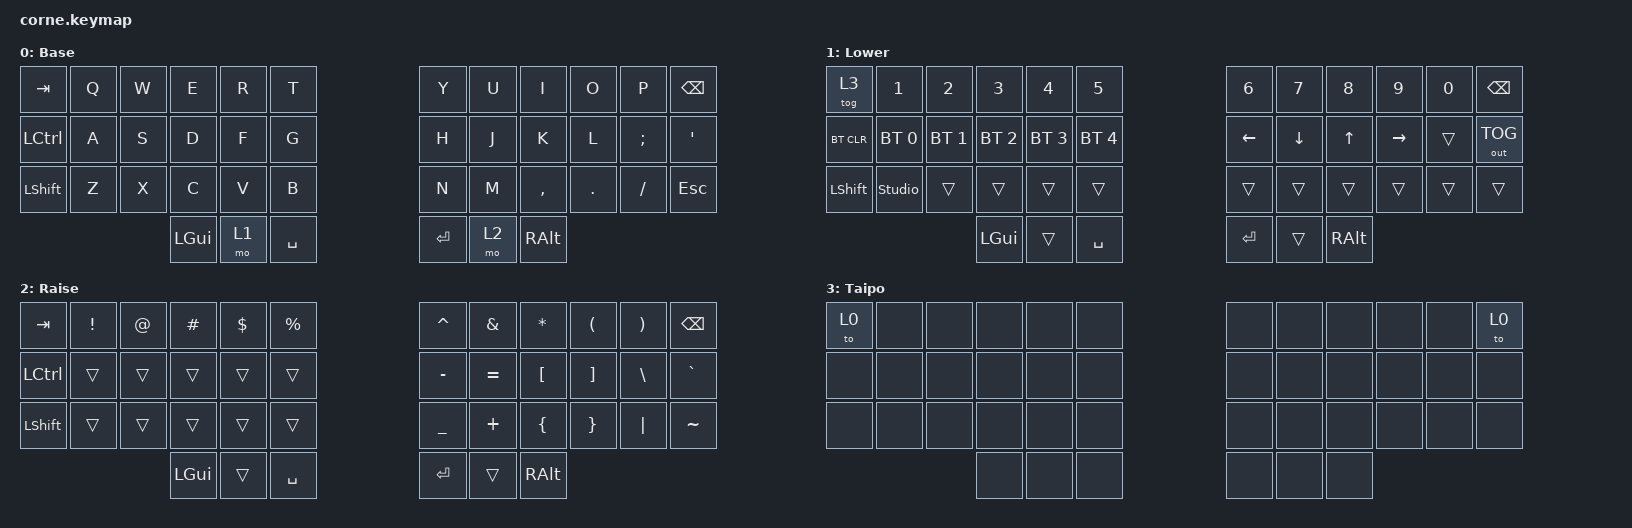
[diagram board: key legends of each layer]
/*
 * Copyright (c) 2020 The ZMK Contributors
 * SPDX-License-Identifier: MIT
 */

#include <behaviors.dtsi>
#include <dt-bindings/zmk/keys.h>
#include <dt-bindings/zmk/bt.h>
#include <dt-bindings/zmk/outputs.h>
#include <behaviors/studio_unlock.dtsi>

// ── Taipo combo configuration ─────────────────────────────────────────────
// Combos only fire on layer 3 (taipo_layer). Timeout tunable here.
#define COMBO_TIMEOUT  70
#define COMBO_LAYERS   3
#define STICKY_TIMEOUT 500

// Corne key positions (0-indexed, left→right across both halves):
//
//  Row 0 (top):   0   1   2   3   4   5  │  6   7   8   9  10  11
//  Row 1 (mid):  12  13  14  15  16  17  │ 18  19  20  21  22  23
//  Row 2 (bot):  24  25  26  27  28  29  │ 30  31  32  33  34  35
//  Thumbs:       36  37  38             │     39  40  41
//
// Default layer mapping for reference:
//  TAB  Q    W    E    R    T   │  Y    U    I    O    P    BSPC
//  CTRL A    S    D    F    G   │  H    J    K    L    ;    '
//  SHFT Z    X    C    V    B   │  N    M    ,    .    /    ESC
//            GUI  LWR  SPC      │  ENT  RSE  RALT

// ── Taipo finger→position mapping ─────────────────────────────────────────
// Uses the middle 4 keys of the middle row + middle 4 keys of the bottom row.
// (Skips the outer pinky column and the inner index-stretch column on each side.)
//
// Middle row left  (A S D F = pinky ring middle index):
#define TLP 13    // A  – left pinky,  middle row
#define TLR 14    // S  – left ring,   middle row
#define TLM 15    // D  – left middle, middle row
#define TLI 16    // F  – left index,  middle row
// Bottom row left  (Z X C V):
#define BLP 25    // Z  – left pinky,  bottom row
#define BLR 26    // X  – left ring,   bottom row
#define BLM 27    // C  – left middle, bottom row
#define BLI 28    // V  – left index,  bottom row
// Left thumbs (LWR = inner, SPC = outer — mirrors taipo cradio convention):
#define LIT 37    // LWR thumb → Backspace in Taipo
#define LOT 38    // SPC thumb → Space    in Taipo

// Middle row right  (J K L ; = index middle ring pinky):
#define TRI 19    // J  – right index,  middle row
#define TRM 20    // K  – right middle, middle row
#define TRR 21    // L  – right ring,   middle row
#define TRP 22    // ;  – right pinky,  middle row
// Bottom row right  (M , . /):
#define BRI 31    // M  – right index,  bottom row
#define BRM 32    // ,  – right middle, bottom row
#define BRR 33    // .  – right ring,   bottom row
#define BRP 34    // /  – right pinky,  bottom row
// Right thumbs:
#define RIT 39    // ENT thumb → Backspace in Taipo
#define ROT 40    // RSE thumb → Space    in Taipo

// ── Sticky key behaviour (used by Taipo shift/ctrl/alt/gui) ───────────────
&sk {
    release-after-ms = <STICKY_TIMEOUT>;
    quick-release;
};

/ {
    // ── Taipo combos (active only on layer 3) ─────────────────────────────
    combos {
        compatible = "zmk,combos";
        #include "taipo.dtsi"
    };

    keymap {
        compatible = "zmk,keymap";

        // Layer 0 – Base (unchanged)
        default_layer {
            display-name = "Base";
            bindings = <
                &kp TAB   &kp Q &kp W &kp E &kp R &kp T   &kp Y &kp U  &kp I     &kp O   &kp P    &kp BSPC
                &kp LCTRL &kp A &kp S &kp D &kp F &kp G   &kp H &kp J  &kp K     &kp L   &kp SEMI &kp SQT
                &kp LSHFT &kp Z &kp X &kp C &kp V &kp B   &kp N &kp M  &kp COMMA &kp DOT &kp FSLH &kp ESC
                                &kp LGUI &mo 1 &kp SPACE   &kp RET &mo 2 &kp RALT
            >;
        };

        // Layer 1 – Lower (numbers, BT, arrows)
        // Lower + TAB  →  toggle Taipo mode on/off
        lower_layer {
            display-name = "Lower";
            bindings = <
                &tog 3     &kp N1         &kp N2       &kp N3       &kp N4       &kp N5         &kp N6   &kp N7   &kp N8 &kp N9    &kp N0 &kp BSPC
                &bt BT_CLR &bt BT_SEL 0   &bt BT_SEL 1 &bt BT_SEL 2 &bt BT_SEL 3 &bt BT_SEL 4   &kp LEFT &kp DOWN &kp UP &kp RIGHT &trans &out OUT_TOG
                &kp LSHFT  &studio_unlock &trans       &trans       &trans       &trans          &trans   &trans   &trans &trans    &trans &trans
                                                       &kp LGUI     &trans       &kp SPACE      &kp RET  &trans   &kp RALT
            >;
        };

        // Layer 2 – Raise (symbols)
        raise_layer {
            display-name = "Raise";
            bindings = <
                &kp TAB   &kp EXCL &kp AT &kp HASH &kp DLLR &kp PRCNT   &kp CARET &kp AMPS  &kp ASTRK &kp LPAR &kp RPAR &kp BSPC
                &kp LCTRL &trans   &trans &trans   &trans   &trans      &kp MINUS &kp EQUAL &kp LBKT  &kp RBKT &kp BSLH &kp GRAVE
                &kp LSHFT &trans   &trans &trans   &trans   &trans      &kp UNDER &kp PLUS  &kp LBRC  &kp RBRC &kp PIPE &kp TILDE
                                          &kp LGUI &trans   &kp SPACE   &kp RET   &trans    &kp RALT
            >;
        };

        // Layer 3 – Taipo
        // All output comes from combos defined in taipo.dtsi.
        // Every key is &none — no base layer bleed-through.
        // TAB (pos 0) and BSPC (pos 11) return to Base via &to 0.
        // The 8 active Taipo keys per hand sit on the middle and bottom rows.
        // Thumbs 2+3 per side are used exclusively by Taipo combos.
        taipo_layer {
            display-name = "Taipo";
            bindings = <
                &to 0 &none &none &none &none &none   &none &none &none &none &none &to 0
                &none &none &none &none &none &none   &none &none &none &none &none &none
                &none &none &none &none &none &none   &none &none &none &none &none &none
                            &none &none &none          &none &none &none
            >;
        };
    };
};
